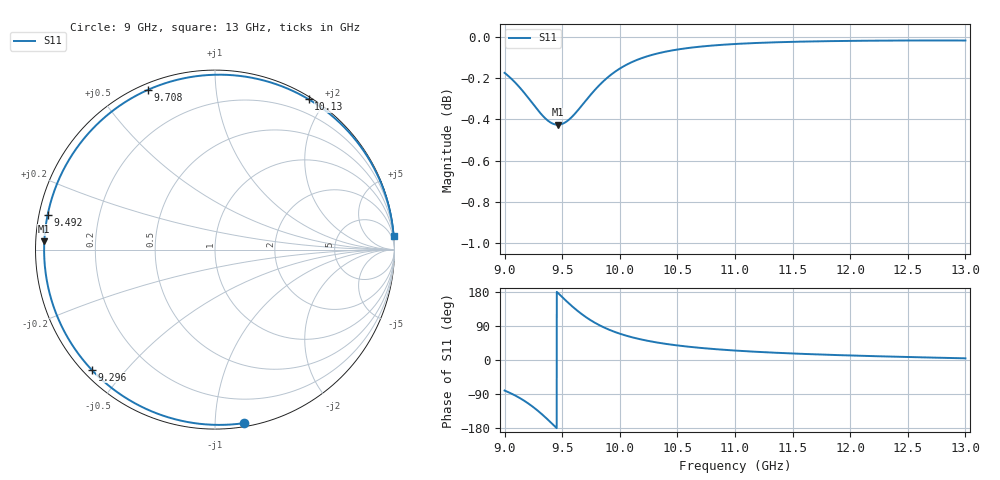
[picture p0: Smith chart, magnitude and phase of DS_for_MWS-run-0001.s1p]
! TOUCHSTONE file generated by CST DESIGN STUDIO
! Date and time: Tue Feb  4 13:59:09 2025
! Project name: C:\Work\MatlabApps\UnitCellOptimizationMatlab\CST\unitcell.cst
! Tree item: Tasks\Sweep1\SPara1\S-Parameters
! Header version: 2024
! Port assignment regex: !\s*Touchstone port\s*([0-9]+)\s*=\s*(CST MWS port|CST DES external port|CST DES block port)\s*(.+)\s* \(\"(.*)\"\)(\s*mode\s*([0-9]+))?.*
! Touchstone port assignment:
! Touchstone port 1 = CST DES external port 1 ("")
# GHz S MA R 50
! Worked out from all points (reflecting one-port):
!   4001 points, 9 GHz to 13 GHz, reference 50 ohm
!   lowest |S11| = -0.4 dB at 9.462 GHz (marker M1), VSWR 40.78, Z = 1.23 + j1.22 ohm
!   phase of S11 starts at -81 deg and turns -275 deg over the sweep
!   S11 on the Smith chart (normalised r, x): 9 GHz: 0.02, -1.18; 9.296 GHz: 0.02, -0.41; 9.492 GHz: 0.02, +0.10; 9.708 GHz: 0.03, +0.67; 10.13 GHz: 0.03, +1.80; 13 GHz: 1, +26
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9  0.9802 -80.6
9.092  0.9749 -93.7
9.166  0.9696 -106.7
9.233  0.9643 -120.7
9.296  0.9594 -135.8
9.339  0.9564 -147.2
9.385  0.9539 -160.1
9.424  0.9526 -171.5
9.462  0.9521 177.2
9.492  0.9524 168.3
9.5  0.9526 166.0
9.549  0.9544 151.9
9.606  0.9577 136.5
9.656  0.9613 124.2
9.708  0.9653 112.7
9.765  0.9695 101.6
9.829  0.9739 90.9
9.913  0.9786 79.2
10  0.9825 69.4
10.131  0.9868 58.1
10.297  0.9904 47.5
10.5  0.9931 38.4
10.723  0.9948 31.3
11  0.9961 24.9
11.5  0.9973 17.2
12  0.9979 11.9
12.5  0.9981 7.9
13  0.9981 4.4
